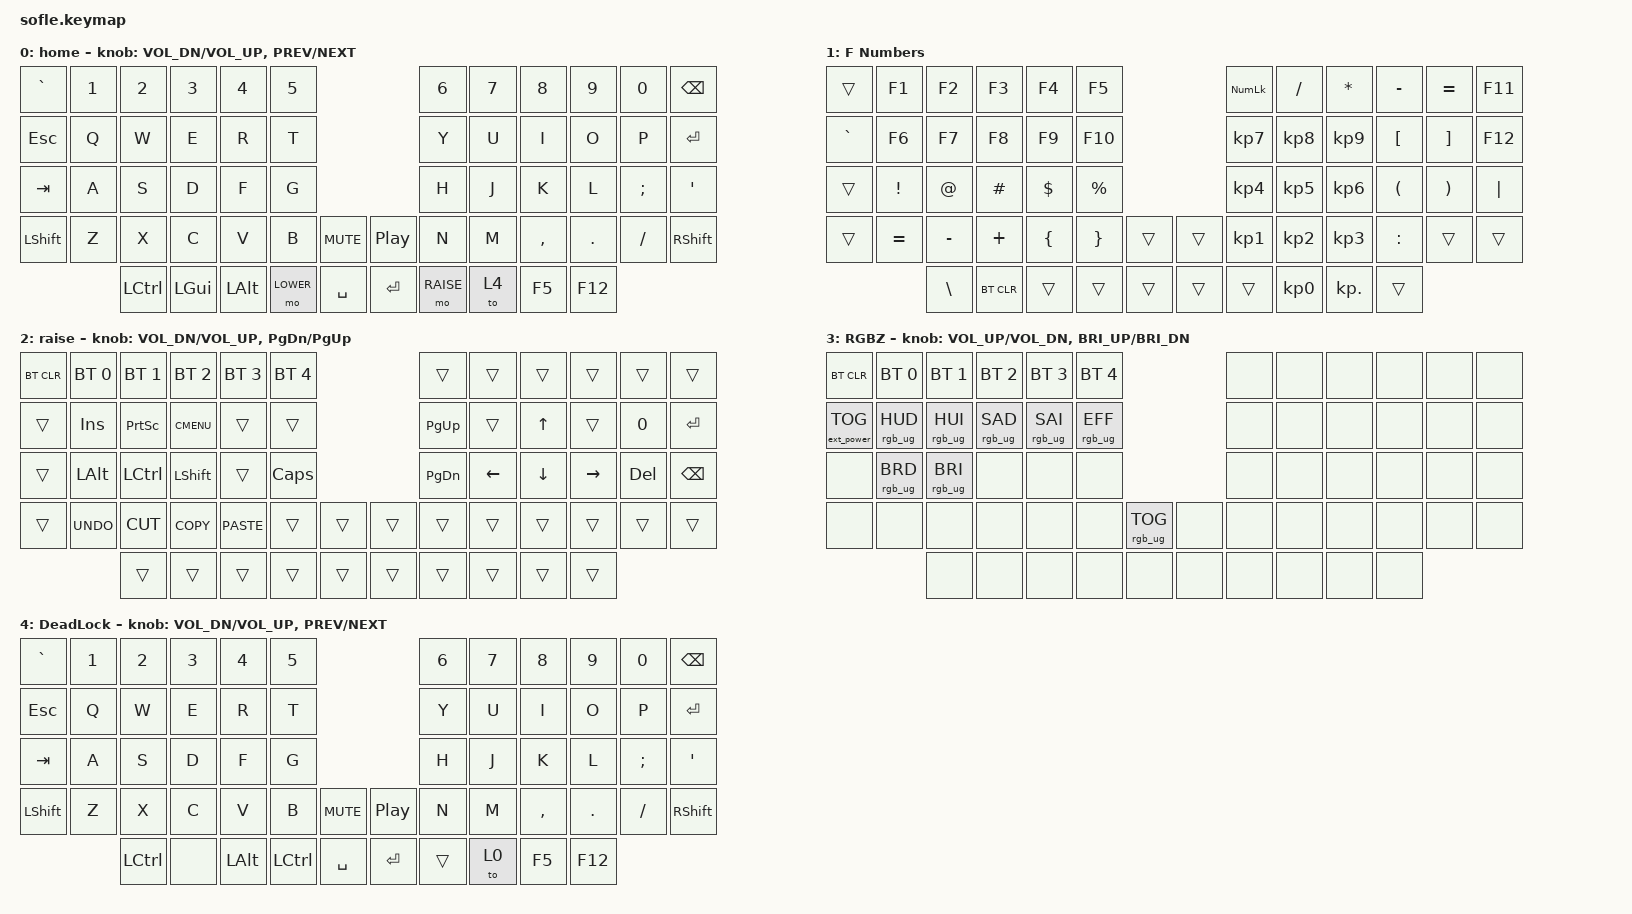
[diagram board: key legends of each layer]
/*
 * Copyright (c) 2020 The ZMK Contributors
 *
 * SPDX-License-Identifier: MIT
 */

#include <behaviors.dtsi>
#include <dt-bindings/zmk/bt.h>
#include <dt-bindings/zmk/ext_power.h>
#include <dt-bindings/zmk/keys.h>
#include <dt-bindings/zmk/rgb.h>
#include <dt-bindings/zmk/backlight.h>


#define BASE 0
#define LOWER 1
#define RAISE 2
#define ADJUST 3

/ {
    // Activate ADJUST layer by pressing raise and lower

    conditional_layers {
        compatible = "zmk,conditional-layers";

        RGBZ {
            if-layers = <1 2>;
            then-layer = <3>;
        };
    };

    keymap {
        compatible = "zmk,keymap";

        default_layer {
            display-name = "home";

            // ------------------------------------------------------------------------------------------------------------
            // |   `   |  1  |  2  |  3   |  4   |  5   |                   |  6   |  7    |  8    |  9   |   0   |       |
            // |  ESC  |  Q  |  W  |  E   |  R   |  T   |                   |  Y   |  U    |  I    |  O   |   P   | BKSPC |
            // |  TAB  |  A  |  S  |  D   |  F   |  G   |                   |  H   |  J    |  K    |  L   |   ;   |   '   |
            // | SHIFT |  Z  |  X  |  C   |  V   |  B   |  MUTE  |  |  PLAY |  N   |  M    |  ,    |  .   |   /   | SHIFT |
            //               | CTRL | GUI  | ALT | LOWER|  SPACE |  | ENTER | raise_layer| CTRL  | F5   | F12   |

            bindings = <
                &kp GRAVE &kp N1 &kp N2   &kp N3   &kp N4    &kp N5                     &kp N6 &kp N7    &kp N8    &kp N9   &kp N0   &kp BSPC
                &kp ESC   &kp Q  &kp W    &kp E    &kp R     &kp T                      &kp Y  &kp U     &kp I     &kp O    &kp P    &kp RET
                &kp TAB   &kp A  &kp S    &kp D    &kp F     &kp G                      &kp H  &kp J     &kp K     &kp L    &kp SEMI &kp SQT
                &kp LSHFT &kp Z  &kp X    &kp C    &kp V     &kp B   &kp C_MUTE &kp C_PP &kp N  &kp M     &kp COMMA &kp DOT  &kp FSLH &kp RSHFT
                                &kp LCTRL &kp LGUI &kp LALT &mo LOWER &kp SPACE &kp RET &mo RAISE &to 4  &kp F5  &kp F12
            >;

            sensor-bindings = <&inc_dec_kp C_VOL_DN C_VOL_UP &inc_dec_kp  C_PREV C_NEXT>;
        };

        lower_layer {
            display-name = "F Numbers";

            // ------------------------------------------------------------------------------------------------------------
            // |       |  F1  |  F2  |  F3  |  F4  |  F5  |                   | NUM  |  /    |  *    |  -   |  =/+  |  F11 |
            // |   `   |  F6  |  F7  |  F8  |  F9  |  5   |                   |  7   |  8    |  9    |  [   |  ]    |  F12 |
            // |       |  !   |  @   |  #   |  $   |  %   |                   |  4   |  5    |  6    |  (   |  )    |  |   |
            // |       |  =   |  -   |  +   |  {   |  }   |        |  |       |  1   |  2    |  3    |  :   |       |       |
            //               |  \   | BTCLR |      |      |      |       |  |       |       |  0    |       |
            //
            // NOTE: Some binds are waiting for shifted keycode support.

            bindings = <
            &trans    &kp F1    &kp F2    &kp F3      &kp F4    &kp F5                       &kp KP_NUMLOCK &kp SLASH       &kp ASTERISK    &kp MINUS &kp EQUAL         &kp F11
            &kp GRAVE &kp F6    &kp F7    &kp F8      &kp F9    &kp F10                      &kp KP_N7      &kp KP_N8       &kp KP_N9       &kp LBKT  &kp RBKT          &kp F12
            &trans    &kp EXCL  &kp AT    &kp HASH    &kp DLLR  &kp PRCNT                    &kp KP_N4      &kp KP_N5       &kp KP_N6       &kp LPAR  &kp RPAR          &kp PIPE
            &trans    &kp EQUAL &kp MINUS &kp PLUS    &kp LBRC  &kp RBRC  &trans     &trans  &kp KP_N1      &kp KP_N2       &kp KP_N3       &kp COLON &trans            &trans
                                &kp BSLH  &bt BT_CLR  &trans    &trans    &trans     &trans  &trans         &kp KP_N0       &kp KP_DOT      &trans
            >;
        };

        raise_layer {
            display-name = "raise";

            // -------------  BBBBBBBBBBBBBBB-----------------------------------------------------------------------------------------------
            // | BTCLR | BT1  | BT2  |  BT3  |  BT4  |  BT5 |                |      |      |       |      |       |       |
            // |       | INS  | PSCR | GUI   |       |      |                | PGUP |      |   ^   |      |       |       |
            // |       | ALT  | CTRL | SHIFT |       | CAPS |                | PGDN |   <- |   v   |  ->  |  DEL  | BKSPC |
            // |       | UNDO | CUT  | COPY  | PASTE |      |      |  |      |      |      |       |      |       |       |
            //                |      |       |       |      |      |  |      |      |      |       |      |

            bindings = <
            &bt BT_CLR &bt BT_SEL 0 &bt BT_SEL 1 &bt BT_SEL 2 &bt BT_SEL 3 &bt BT_SEL 4                   &trans    &trans   &trans   &trans    &trans  &trans
            &trans     &kp INS      &kp PSCRN    &kp K_CMENU  &trans       &trans                         &kp PG_UP &trans   &kp UP   &trans    &kp N0  &kp RET
            &trans     &kp LALT     &kp LCTRL    &kp LSHFT    &trans       &kp CLCK                       &kp PG_DN &kp LEFT &kp DOWN &kp RIGHT &kp DEL &kp BSPC
            &trans     &kp K_UNDO   &kp K_CUT    &kp K_COPY   &kp K_PASTE  &trans     &trans     &trans   &trans    &trans   &trans   &trans    &trans  &trans
                                    &trans       &trans       &trans       &trans     &trans     &trans   &trans    &trans   &trans   &trans
            >;

            sensor-bindings = <&inc_dec_kp  C_VOL_DN C_VOL_UP &inc_dec_kp  PG_DN PG_UP>;
        };

        adjust_layer {
            // ----------------------------------------------------------------------------------------------------------------------------
            // | BTCLR  |  BT1    |  BT2    |   BT3   |   BT4   |   BT5   |                  |      |      |       |      |       |       |
            // | EXTPWR | RGB_HUD | RGB_HUI | RGB_SAD | RGB_SAI | RGB_EFF |                  |      |      |       |      |       |       |
            // |        | RGB_BRD | RGB_BRI |         |         |         |                  |      |      |       |      |       |       |
            // |        |         |         |         |         |         | RGB_TOG | |      |      |      |       |      |       |       |
            //                    |         |         |         |         |         | |      |      |      |       |      |

            display-name = "RGBZ";
            bindings = <
            &bt BT_CLR        &bt BT_SEL 0     &bt BT_SEL 1     &bt BT_SEL 2     &bt BT_SEL 3     &bt BT_SEL 4                      &none &none &none &none &none &none
            &ext_power EP_TOG &rgb_ug RGB_HUD  &rgb_ug RGB_HUI  &rgb_ug RGB_SAD  &rgb_ug RGB_SAI  &rgb_ug RGB_EFF                   &none &none &none &none &none &none
            &none             &rgb_ug RGB_BRD  &rgb_ug RGB_BRI  &none            &none            &none                             &none &none &none &none &none &none
            &none             &none            &none            &none            &none            &none         &rgb_ug RGB_TOG &none &none &none &none &none &none &none
                                               &none            &none            &none            &none         &none           &none &none &none &none &none
            >;

            sensor-bindings = <&inc_dec_kp C_VOL_UP C_VOL_DN &inc_dec_kp C_BRI_UP C_BRI_DN>;
        };
        deadlock_layer {
            display-name = "DeadLock";

            // ------------------------------------------------------------------------------------------------------------
            // |   `   |  1  |  2  |  3   |  4   |  5   |                   |  6   |  7    |  8    |  9   |   0   |       |
            // |  ESC  |  Q  |  W  |  E   |  R   |  T   |                   |  Y   |  U    |  I    |  O   |   P   | BKSPC |
            // |  TAB  |  A  |  S  |  D   |  F   |  G   |                   |  H   |  J    |  K    |  L   |   ;   |   '   |
            // | SHIFT |  Z  |  X  |  C   |  V   |  B   |  MUTE  |  |  PLAY |  N   |  M    |  ,    |  .   |   /   | SHIFT |
            //               | CTRL | GUI  | ALT | LOWER|  SPACE |  | ENTER | raise_layer| CTRL  | F5   | F12   |

            bindings = <
                &kp GRAVE &kp N1    &kp N2    &kp N3    &kp N4    &kp N5                     &kp N6    &kp N7    &kp N8    &kp N9   &kp N0   &kp BSPC
                &kp ESC   &kp Q     &kp W     &kp E     &kp R     &kp T                      &kp Y     &kp U     &kp I     &kp O    &kp P    &kp RET
                &kp TAB   &kp A     &kp S     &kp D     &kp F     &kp G                      &kp H     &kp J     &kp K     &kp L    &kp SEMI &kp SQT
                &kp LSHFT &kp Z     &kp X     &kp C     &kp V     &kp B   &kp C_MUTE &kp C_PP &kp N     &kp M     &kp COMMA &kp DOT  &kp FSLH &kp RSHFT
                                    &kp LCTRL &none  &kp LALT  &kp LCTRL  &kp SPACE  &kp RET  &trans    &to 0     &kp F5    &kp F12
            >;

            sensor-bindings = <&inc_dec_kp C_VOL_DN C_VOL_UP &inc_dec_kp  C_PREV C_NEXT>;
        };

    };
};
 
